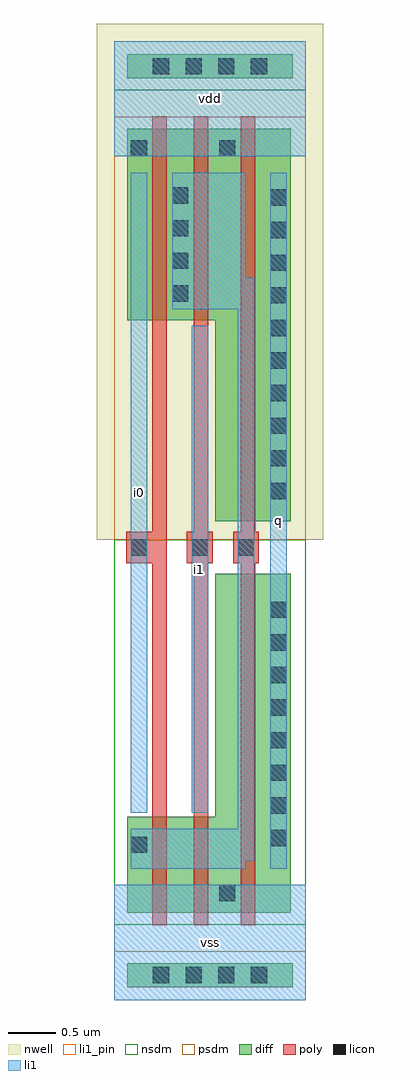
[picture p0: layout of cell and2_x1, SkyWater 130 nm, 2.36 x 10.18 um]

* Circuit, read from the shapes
.subckt and2_x1 i0 i1 q vdd vss
XM1 n1 i0 n2 VSUBS sky130_fd_pr__nfet_01v8 w=1 l=0.15
XM2 vss i1 n1 VSUBS sky130_fd_pr__nfet_01v8 w=1 l=0.15
XM3 q n2 vss VSUBS sky130_fd_pr__nfet_01v8 w=3.535 l=0.15
XM4 n2 i0 vdd n3 sky130_fd_pr__pfet_01v8 w=2 l=0.15
XM5 vdd i1 n2 n3 sky130_fd_pr__pfet_01v8 w=2 l=0.15
XM6 q n2 vdd n3 sky130_fd_pr__pfet_01v8 w=4.095 l=0.15
.ends

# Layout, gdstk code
import gdstk
lib = gdstk.Library(unit=1e-6, precision=1e-09)
def R(c, l, rs):  # rectangles x0, y0, x1, y1
    for r in rs: c.add(gdstk.rectangle(r[:2], r[2:], *l))
def A(c, l, x, y, w, h, nx, ny, dx, dy):  # array of equal rectangles
    R(c, l, [(x+i*dx, y+j*dy, x+i*dx+w, y+j*dy+h) for i in range(nx) for j in range(ny)])
def P(c, l, *ps):  # polygons
    for p in ps: c.add(gdstk.Polygon(p, *l))
nwell = (64, 20)
diff = (65, 20)
poly = (66, 20)
licon = (66, 44)
li1_pin = (67, 16)
li1 = (67, 20)
nsdm = (93, 44)
psdm = (94, 20)

and2_x1 = lib.new_cell('and2_x1')
R(and2_x1, nwell, [(-0.18,4.8,2.18,10.18)])
R(and2_x1, diff, [(0.135,0.135,1.865,0.385), (0.135,9.615,1.865,9.865)])
P(and2_x1, diff, [(0.135,0.91),(0.135,1.91),(1.055,1.91),(1.055,4.445),(1.84,4.445),(1.84,0.91)],
  [(1.055,4.995),(1.055,7.09),(0.135,7.09),(0.135,9.09),(1.84,9.09),(1.84,4.995)])
P(and2_x1, poly, [(1.32,0.78),(1.32,4.555),(1.24,4.555),(1.24,4.885),(1.32,4.885),(1.32,9.22),(1.47,9.22),(1.47,4.885),(1.51,4.885),(1.51,4.555),(1.47,4.555),(1.47,0.78)],
  [(0.4,0.78),(0.4,4.555),(0.125,4.555),(0.125,4.885),(0.4,4.885),(0.4,9.22),(0.55,9.22),(0.55,0.78)],
  [(0.83,0.78),(0.83,4.555),(0.76,4.555),(0.76,4.885),(0.83,4.885),(0.83,9.22),(0.98,9.22),(0.98,4.885),(1.03,4.885),(1.03,4.555),(0.98,4.555),(0.98,0.78)])
A(and2_x1, licon, 0.405, 0.175, 0.17, 0.17, 4, 2, 0.34, 9.48)
A(and2_x1, licon, 1.63, 1.605, 0.17, 0.17, 1, 8, 0, 0.34)
A(and2_x1, licon, 1.63, 5.225, 0.17, 0.17, 1, 10, 0, 0.34)
A(and2_x1, licon, 0.605, 7.285, 0.17, 0.17, 1, 4, 0, 0.34)
R(and2_x1, licon, [(1.095,1.03,1.265,1.2), (0.175,1.535,0.345,1.705), (0.175,4.635,0.345,4.805), (0.81,4.635,0.98,4.805), (1.29,4.635,1.46,4.805), (0.175,8.8,0.345,8.97), (1.095,8.8,1.265,8.97)])
R(and2_x1, li1_pin, [(0,0,2,1.2), (1.63,1.37,1.8,8.63), (0.175,1.955,0.345,8.63), (0.81,1.955,0.98,7.035), (0,8.8,2,10)])
R(and2_x1, li1, [(0,0,2,1.2), (1.63,1.37,1.8,8.63), (0.175,1.955,0.345,8.63), (0.81,1.955,0.98,7.035), (0,8.8,2,10)])
P(and2_x1, li1, [(0.175,1.37),(0.175,1.785),(1.29,1.785),(1.29,7.205),(0.605,7.205),(0.605,8.63),(1.375,8.63),(1.375,7.535),(1.46,7.535),(1.46,1.455),(1.375,1.455),(1.375,1.37)])
R(and2_x1, nsdm, [(0,0.785,2,4.8), (0,9.49,2,10)])
R(and2_x1, psdm, [(0,0,2,0.51), (0,4.8,2,9.215)])
and2_x1.add(gdstk.Label('vdd', (1,9.4), layer=67, texttype=16))
and2_x1.add(gdstk.Label('vss', (1,0.6), layer=67, texttype=16))
and2_x1.add(gdstk.Label('i0', (0.26,5.293), layer=67, texttype=16))
and2_x1.add(gdstk.Label('i1', (0.895,4.495), layer=67, texttype=16))
and2_x1.add(gdstk.Label('q', (1.715,5), layer=67, texttype=16))

lib.write_gds('and2_x1.gds')
